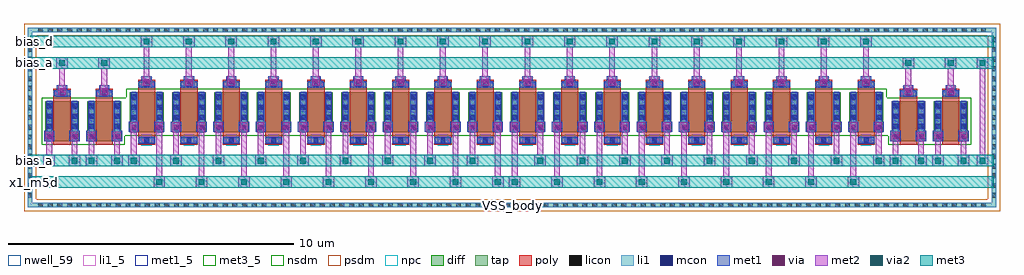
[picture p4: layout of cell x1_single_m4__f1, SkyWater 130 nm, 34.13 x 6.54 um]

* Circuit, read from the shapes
.subckt x1_single_m4__f1 VSS_body bias_a bias_d x1_m5d
XM1 bias_a bias_a bias_a VSS_body sky130_fd_pr__nfet_01v8 w=1.4 l=0.6 m=4
XM2 x1_m5d bias_d bias_a VSS_body sky130_fd_pr__nfet_01v8 w=1.4 l=0.6 m=18
.ends

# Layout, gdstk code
from math import pi, radians
import gdstk
lib = gdstk.Library(unit=1e-6, precision=1e-09)
def R(c, l, rs):  # rectangles x0, y0, x1, y1
    for r in rs: c.add(gdstk.rectangle(r[:2], r[2:], *l))
def A(c, l, x, y, w, h, nx, ny, dx, dy):  # array of equal rectangles
    R(c, l, [(x+i*dx, y+j*dy, x+i*dx+w, y+j*dy+h) for i in range(nx) for j in range(ny)])
nwell_59 = (64, 59)
diff = (65, 20)
tap = (65, 44)
poly = (66, 20)
licon = (66, 44)
li1_5 = (67, 5)
li1 = (67, 20)
mcon = (67, 44)
met1_5 = (68, 5)
met1 = (68, 20)
via = (68, 44)
met2 = (69, 20)
via2 = (69, 44)
met3_5 = (70, 5)
met3 = (70, 20)
nsdm = (93, 44)
psdm = (94, 20)
npc = (95, 20)

sky130_fd_pr__nfet_01v8_ = lib.new_cell('sky130_fd_pr__nfet_01v8_RUA5M6')
R(sky130_fd_pr__nfet_01v8_, diff, [(-0.59,-0.855,0.59,0.545)])
R(sky130_fd_pr__nfet_01v8_, poly, [(-0.3,-0.985,0.3,0.985)])
A(sky130_fd_pr__nfet_01v8_, licon, -0.53, -0.75, 0.17, 0.17, 1, 4, 0, 0.34)
A(sky130_fd_pr__nfet_01v8_, licon, 0.36, -0.75, 0.17, 0.17, 1, 4, 0, 0.34)
R(sky130_fd_pr__nfet_01v8_, licon, [(-0.085,0.735,0.085,0.905)])
R(sky130_fd_pr__nfet_01v8_, li1, [(-0.53,-0.875,-0.36,0.565), (0.36,-0.875,0.53,0.565), (-0.3,0.735,0.3,0.905)])
A(sky130_fd_pr__nfet_01v8_, mcon, -0.53, -0.78, 0.17, 0.17, 1, 4, 0, 0.36)
A(sky130_fd_pr__nfet_01v8_, mcon, 0.36, -0.78, 0.17, 0.17, 1, 4, 0, 0.36)
R(sky130_fd_pr__nfet_01v8_, mcon, [(-0.085,0.735,0.085,0.905)])
R(sky130_fd_pr__nfet_01v8_, met1, [(-0.56,-0.855,-0.33,0.545), (0.33,-0.855,0.56,0.545), (-0.28,0.705,0.28,0.935)])
R(sky130_fd_pr__nfet_01v8_, nsdm, [(-0.715,-0.98,0.715,0.67)])
R(sky130_fd_pr__nfet_01v8_, npc, [(-0.185,0.635,0.185,1.005)])
sky130_fd_pr__nfet_01v8_.add(gdstk.Label('D', (-0.445,-0.155), layer=67, texttype=5))
sky130_fd_pr__nfet_01v8_.add(gdstk.Label('S', (0.445,-0.155), layer=67, texttype=5))
sky130_fd_pr__nfet_01v8_.add(gdstk.Label('G', (0,0.82), layer=67, texttype=5))

nfet_01v8_w1p4_l0p6_m4__ = lib.new_cell('nfet_01v8_W1p4_L0p6_m4__nf1_gtop_sdfull_ng')
R(nfet_01v8_w1p4_l0p6_m4__, nwell_59, [(0.05,0.78,0.15,0.88)])
R(nfet_01v8_w1p4_l0p6_m4__, met1_5, [(0.03,0.83,0.26,1.03), (0.92,0.83,1.15,1.03), (0.31,1.69,0.87,1.92)])
R(nfet_01v8_w1p4_l0p6_m4__, met1, [(0.03,0.83,0.26,1.03), (0.92,0.83,1.15,1.03), (0.31,1.69,0.87,1.92)])
nfet_01v8_w1p4_l0p6_m4__.add(gdstk.Reference(sky130_fd_pr__nfet_01v8_, (0.59,0.985)))
nfet_01v8_w1p4_l0p6_m4__.add(gdstk.Label('D', (0.145,0.93), layer=68, texttype=5))
nfet_01v8_w1p4_l0p6_m4__.add(gdstk.Label('S', (1.035,0.93), layer=68, texttype=5))
nfet_01v8_w1p4_l0p6_m4__.add(gdstk.Label('G', (0.59,1.805), layer=68, texttype=5))
nfet_01v8_w1p4_l0p6_m4__.add(gdstk.Label('B', (0.1,0.83), layer=64, texttype=59))

c_sky130_fd_pr__nfet_01v8_ = lib.new_cell('sky130_fd_pr__nfet_01v8_KCM6UP')
R(c_sky130_fd_pr__nfet_01v8_, diff, [(-0.59,-0.7,0.59,0.7)])
R(c_sky130_fd_pr__nfet_01v8_, poly, [(-0.3,-1.14,0.3,1.14)])
A(c_sky130_fd_pr__nfet_01v8_, licon, -0.53, -0.595, 0.17, 0.17, 1, 4, 0, 0.34)
A(c_sky130_fd_pr__nfet_01v8_, licon, 0.36, -0.595, 0.17, 0.17, 1, 4, 0, 0.34)
R(c_sky130_fd_pr__nfet_01v8_, licon, [(-0.085,-1.06,0.085,-0.89), (-0.085,0.89,0.085,1.06)])
R(c_sky130_fd_pr__nfet_01v8_, li1, [(-0.3,-1.06,0.3,-0.89), (-0.53,-0.72,-0.36,0.72), (0.36,-0.72,0.53,0.72), (-0.3,0.89,0.3,1.06)])
A(c_sky130_fd_pr__nfet_01v8_, mcon, -0.53, -0.625, 0.17, 0.17, 1, 4, 0, 0.36)
A(c_sky130_fd_pr__nfet_01v8_, mcon, 0.36, -0.625, 0.17, 0.17, 1, 4, 0, 0.36)
R(c_sky130_fd_pr__nfet_01v8_, mcon, [(-0.085,-1.06,0.085,-0.89), (-0.085,0.89,0.085,1.06)])
R(c_sky130_fd_pr__nfet_01v8_, met1, [(-0.28,-1.09,0.28,-0.86), (-0.56,-0.7,-0.33,0.7), (0.33,-0.7,0.56,0.7), (-0.28,0.86,0.28,1.09)])
R(c_sky130_fd_pr__nfet_01v8_, nsdm, [(-0.715,-0.825,0.715,0.825)])
R(c_sky130_fd_pr__nfet_01v8_, npc, [(-0.185,-1.16,0.185,-0.79), (-0.185,0.79,0.185,1.16)])
c_sky130_fd_pr__nfet_01v8_.add(gdstk.Label('D', (-0.445,0), layer=67, texttype=5))
c_sky130_fd_pr__nfet_01v8_.add(gdstk.Label('S', (0.445,0), layer=67, texttype=5))
c_sky130_fd_pr__nfet_01v8_.add(gdstk.Label('G', (0,0.975), layer=67, texttype=5))

nfet_01v8_w1p4_l0p6_m18_ = lib.new_cell('nfet_01v8_W1p4_L0p6_m18__nf1_gboth_sdfull_ng')
R(nfet_01v8_w1p4_l0p6_m18_, nwell_59, [(0.05,1.09,0.15,1.19)])
R(nfet_01v8_w1p4_l0p6_m18_, met1_5, [(0.03,1.14,0.26,1.34), (0.92,1.14,1.15,1.34), (0.31,2,0.87,2.23)])
R(nfet_01v8_w1p4_l0p6_m18_, met1, [(0.03,1.14,0.26,1.34), (0.92,1.14,1.15,1.34), (0.31,2,0.87,2.23)])
nfet_01v8_w1p4_l0p6_m18_.add(gdstk.Reference(c_sky130_fd_pr__nfet_01v8_, (0.59,1.14)))
nfet_01v8_w1p4_l0p6_m18_.add(gdstk.Label('D', (0.145,1.24), layer=68, texttype=5))
nfet_01v8_w1p4_l0p6_m18_.add(gdstk.Label('S', (1.035,1.24), layer=68, texttype=5))
nfet_01v8_w1p4_l0p6_m18_.add(gdstk.Label('G', (0.59,2.115), layer=68, texttype=5))
nfet_01v8_w1p4_l0p6_m18_.add(gdstk.Label('B', (0.1,1.14), layer=64, texttype=59))

x1_single_m4__f1 = lib.new_cell('x1_single_m4__f1')
R(x1_single_m4__f1, tap, [(-0.485,-2.185,33.395,-2.015), (-0.485,-2.015,-0.315,3.935), (33.225,-2.015,33.395,3.935), (-0.485,3.935,33.395,4.105)])
A(x1_single_m4__f1, licon, -0.12, -2.185, 0.17, 0.17, 98, 2, 0.34, 6.12)
A(x1_single_m4__f1, licon, -0.485, -1.845, 0.17, 0.17, 1, 17, 0, 0.34)
A(x1_single_m4__f1, licon, 33.225, -1.845, 0.17, 0.17, 1, 17, 0, 0.34)
R(x1_single_m4__f1, li1_5, [(16.405,-2.15,16.505,-2.05)])
R(x1_single_m4__f1, li1, [(-0.485,-2.185,33.395,-2.015), (-0.485,-2.015,-0.315,3.935), (33.225,-2.015,33.395,3.935), (-0.485,3.935,33.395,4.105)])
A(x1_single_m4__f1, met1, 3.495, 2.05, 0.36, 0.36, 18, 1, 1.48, 0)
R(x1_single_m4__f1, met1, [(0.09,0.13,0.45,0.49), (0.98,0.13,1.34,0.49), (1.57,0.13,1.93,0.49), (2.46,0.13,2.82,0.49), (29.69,0.13,30.05,0.49), (30.58,0.13,30.94,0.49), (31.17,0.13,31.53,0.49), (32.06,0.13,32.42,0.49), (3.05,0.46,3.41,0.82), (3.94,0.46,4.3,0.82), (4.53,0.46,4.89,0.82), (5.42,0.46,5.78,0.82), (6.01,0.46,6.37,0.82), (6.9,0.46,7.26,0.82), (7.49,0.46,7.85,0.82), (8.38,0.46,8.74,0.82), (8.97,0.46,9.33,0.82), (9.86,0.46,10.22,0.82), (10.45,0.46,10.81,0.82), (11.34,0.46,11.7,0.82), (11.93,0.46,12.29,0.82), (12.82,0.46,13.18,0.82), (13.41,0.46,13.77,0.82), (14.3,0.46,14.66,0.82), (14.89,0.46,15.25,0.82), (15.78,0.46,16.14,0.82), (16.37,0.46,16.73,0.82), (17.26,0.46,17.62,0.82), (17.85,0.46,18.21,0.82), (18.74,0.46,19.1,0.82), (19.33,0.46,19.69,0.82), (20.22,0.46,20.58,0.82), (20.81,0.46,21.17,0.82), (21.7,0.46,22.06,0.82), (22.29,0.46,22.65,0.82), (23.18,0.46,23.54,0.82), (23.77,0.46,24.13,0.82), (24.66,0.46,25.02,0.82), (25.25,0.46,25.61,0.82), (26.14,0.46,26.5,0.82), (26.73,0.46,27.09,0.82), (27.62,0.46,27.98,0.82), (28.21,0.46,28.57,0.82), (29.1,0.46,29.46,0.82), (0.535,1.72,0.895,2.08), (2.015,1.72,2.375,2.08), (30.135,1.72,30.495,2.08), (31.615,1.72,31.975,2.08)])
A(x1_single_m4__f1, via, 3.6, 2.155, 0.15, 0.15, 18, 1, 1.48, 0)
R(x1_single_m4__f1, via, [(0.195,0.235,0.345,0.385), (1.085,0.235,1.235,0.385), (1.675,0.235,1.825,0.385), (2.565,0.235,2.715,0.385), (29.795,0.235,29.945,0.385), (30.685,0.235,30.835,0.385), (31.275,0.235,31.425,0.385), (32.165,0.235,32.315,0.385), (3.155,0.565,3.305,0.715), (4.045,0.565,4.195,0.715), (4.635,0.565,4.785,0.715), (5.525,0.565,5.675,0.715), (6.115,0.565,6.265,0.715), (7.005,0.565,7.155,0.715), (7.595,0.565,7.745,0.715), (8.485,0.565,8.635,0.715), (9.075,0.565,9.225,0.715), (9.965,0.565,10.115,0.715), (10.555,0.565,10.705,0.715), (11.445,0.565,11.595,0.715), (12.035,0.565,12.185,0.715), (12.925,0.565,13.075,0.715), (13.515,0.565,13.665,0.715), (14.405,0.565,14.555,0.715), (14.995,0.565,15.145,0.715), (15.885,0.565,16.035,0.715), (16.475,0.565,16.625,0.715), (17.365,0.565,17.515,0.715), (17.955,0.565,18.105,0.715), (18.845,0.565,18.995,0.715), (19.435,0.565,19.585,0.715), (20.325,0.565,20.475,0.715), (20.915,0.565,21.065,0.715), (21.805,0.565,21.955,0.715), (22.395,0.565,22.545,0.715), (23.285,0.565,23.435,0.715), (23.875,0.565,24.025,0.715), (24.765,0.565,24.915,0.715), (25.355,0.565,25.505,0.715), (26.245,0.565,26.395,0.715), (26.835,0.565,26.985,0.715), (27.725,0.565,27.875,0.715), (28.315,0.565,28.465,0.715), (29.205,0.565,29.355,0.715), (0.64,1.825,0.79,1.975), (2.12,1.825,2.27,1.975), (30.24,1.825,30.39,1.975), (31.72,1.825,31.87,1.975)])
A(x1_single_m4__f1, met2, 3.92, -1.5, 0.4, 0.4, 9, 1, 1.48, 0)
A(x1_single_m4__f1, met2, 16.35, -1.5, 0.4, 0.4, 9, 1, 1.48, 0)
A(x1_single_m4__f1, met2, 4.02, -1.1, 0.2, 1.58, 9, 1, 1.48, 0)
A(x1_single_m4__f1, met2, 16.45, -1.1, 0.2, 1.58, 9, 1, 1.48, 0)
A(x1_single_m4__f1, met2, 3.03, -0.75, 0.4, 0.4, 9, 1, 1.48, 0)
A(x1_single_m4__f1, met2, 17.24, -0.75, 0.4, 0.4, 9, 1, 1.48, 0)
A(x1_single_m4__f1, met2, 3.13, -0.35, 0.2, 0.83, 9, 1, 1.48, 0)
A(x1_single_m4__f1, met2, 17.34, -0.35, 0.2, 0.83, 9, 1, 1.48, 0)
A(x1_single_m4__f1, met2, 3.545, 2.07, 0.26, 0.32, 18, 1, 1.48, 0)
A(x1_single_m4__f1, met2, 3.575, 2.39, 0.2, 1.03, 18, 1, 1.48, 0)
A(x1_single_m4__f1, met2, 3.475, 3.42, 0.4, 0.4, 18, 1, 1.48, 0)
R(x1_single_m4__f1, met2, [(0.07,-0.75,0.47,-0.35), (0.96,-0.75,1.36,-0.35), (1.55,-0.75,1.95,-0.35), (2.44,-0.75,2.84,-0.35), (29.67,-0.75,30.07,-0.35), (30.56,-0.75,30.96,-0.35), (31.15,-0.75,31.55,-0.35), (32.04,-0.75,32.44,-0.35), (32.71,-0.75,33.11,-0.35), (0.17,-0.35,0.37,0.15), (1.06,-0.35,1.26,0.15), (1.65,-0.35,1.85,0.15), (2.54,-0.35,2.74,0.15), (29.77,-0.35,29.97,0.15), (30.66,-0.35,30.86,0.15), (31.25,-0.35,31.45,0.15), (32.14,-0.35,32.34,0.15), (32.81,-0.35,33.01,2.67), (0.14,0.15,0.4,0.47), (1.03,0.15,1.29,0.47), (1.62,0.15,1.88,0.47), (2.51,0.15,2.77,0.47), (29.74,0.15,30,0.47), (30.63,0.15,30.89,0.47), (31.22,0.15,31.48,0.47), (32.11,0.15,32.37,0.47), (3.1,0.48,3.36,0.8), (3.99,0.48,4.25,0.8), (4.58,0.48,4.84,0.8), (5.47,0.48,5.73,0.8), (6.06,0.48,6.32,0.8), (6.95,0.48,7.21,0.8), (7.54,0.48,7.8,0.8), (8.43,0.48,8.69,0.8), (9.02,0.48,9.28,0.8), (9.91,0.48,10.17,0.8), (10.5,0.48,10.76,0.8), (11.39,0.48,11.65,0.8), (11.98,0.48,12.24,0.8), (12.87,0.48,13.13,0.8), (13.46,0.48,13.72,0.8), (14.35,0.48,14.61,0.8), (14.94,0.48,15.2,0.8), (15.83,0.48,16.09,0.8), (16.42,0.48,16.68,0.8), (17.31,0.48,17.57,0.8), (17.9,0.48,18.16,0.8), (18.79,0.48,19.05,0.8), (19.38,0.48,19.64,0.8), (20.27,0.48,20.53,0.8), (20.86,0.48,21.12,0.8), (21.75,0.48,22.01,0.8), (22.34,0.48,22.6,0.8), (23.23,0.48,23.49,0.8), (23.82,0.48,24.08,0.8), (24.71,0.48,24.97,0.8), (25.3,0.48,25.56,0.8), (26.19,0.48,26.45,0.8), (26.78,0.48,27.04,0.8), (27.67,0.48,27.93,0.8), (28.26,0.48,28.52,0.8), (29.15,0.48,29.41,0.8), (0.585,1.74,0.845,2.06), (2.065,1.74,2.325,2.06), (30.185,1.74,30.445,2.06), (31.665,1.74,31.925,2.06), (0.615,2.06,0.815,2.67), (2.095,2.06,2.295,2.67), (30.215,2.06,30.415,2.67), (31.695,2.06,31.895,2.67), (0.515,2.67,0.915,3.07), (1.995,2.67,2.395,3.07), (30.115,2.67,30.515,3.07), (31.595,2.67,31.995,3.07), (32.71,2.67,33.11,3.07)])
A(x1_single_m4__f1, via2, 4.02, -1.4, 0.2, 0.2, 9, 1, 1.48, 0)
A(x1_single_m4__f1, via2, 16.45, -1.4, 0.2, 0.2, 9, 1, 1.48, 0)
A(x1_single_m4__f1, via2, 3.13, -0.65, 0.2, 0.2, 9, 1, 1.48, 0)
A(x1_single_m4__f1, via2, 17.34, -0.65, 0.2, 0.2, 9, 1, 1.48, 0)
A(x1_single_m4__f1, via2, 3.575, 3.52, 0.2, 0.2, 18, 1, 1.48, 0)
R(x1_single_m4__f1, via2, [(0.17,-0.65,0.37,-0.45), (1.06,-0.65,1.26,-0.45), (1.65,-0.65,1.85,-0.45), (2.54,-0.65,2.74,-0.45), (29.77,-0.65,29.97,-0.45), (30.66,-0.65,30.86,-0.45), (31.25,-0.65,31.45,-0.45), (32.14,-0.65,32.34,-0.45), (32.81,-0.65,33.01,-0.45), (0.615,2.77,0.815,2.97), (2.095,2.77,2.295,2.97), (30.215,2.77,30.415,2.97), (31.695,2.77,31.895,2.97), (32.81,2.77,33.01,2.97)])
R(x1_single_m4__f1, met3_5, [(-0.3,-1.35,-0.2,-1.25), (-0.3,-0.6,-0.2,-0.5), (-0.3,2.82,-0.2,2.92), (-0.3,3.57,-0.2,3.67)])
R(x1_single_m4__f1, met3, [(-0.4,-1.5,33.31,-1.1), (-0.4,-0.75,33.31,-0.35), (-0.4,2.67,33.31,3.07), (-0.4,3.42,33.31,3.82)])
A(x1_single_m4__f1, nsdm, 4.395, 0.315, 0.05, 1.65, 17, 1, 1.48, 0)
R(x1_single_m4__f1, nsdm, [(1.435,0.005,1.485,1.655), (31.035,0.005,31.085,1.655), (2.915,0.315,2.965,1.655), (29.555,0.315,29.605,1.655)])
R(x1_single_m4__f1, psdm, [(-0.61,-2.31,33.52,-1.89), (-0.61,-1.89,-0.19,3.81), (33.1,-1.89,33.52,3.81), (-0.61,3.81,33.52,4.23)])
x1_single_m4__f1.add(gdstk.Reference(nfet_01v8_w1p4_l0p6_m4__, (0.13,0)))
x1_single_m4__f1.add(gdstk.Reference(nfet_01v8_w1p4_l0p6_m4__, (1.61,0)))
x1_single_m4__f1.add(gdstk.Reference(nfet_01v8_w1p4_l0p6_m18_, (3.09,0)))
x1_single_m4__f1.add(gdstk.Reference(nfet_01v8_w1p4_l0p6_m18_, (4.57,0)))
x1_single_m4__f1.add(gdstk.Reference(nfet_01v8_w1p4_l0p6_m18_, (6.05,0)))
x1_single_m4__f1.add(gdstk.Reference(nfet_01v8_w1p4_l0p6_m18_, (7.53,0)))
x1_single_m4__f1.add(gdstk.Reference(nfet_01v8_w1p4_l0p6_m18_, (9.01,0)))
x1_single_m4__f1.add(gdstk.Reference(nfet_01v8_w1p4_l0p6_m18_, (10.49,0)))
x1_single_m4__f1.add(gdstk.Reference(nfet_01v8_w1p4_l0p6_m18_, (11.97,0)))
x1_single_m4__f1.add(gdstk.Reference(nfet_01v8_w1p4_l0p6_m18_, (13.45,0)))
x1_single_m4__f1.add(gdstk.Reference(nfet_01v8_w1p4_l0p6_m18_, (14.93,0)))
x1_single_m4__f1.add(gdstk.Reference(nfet_01v8_w1p4_l0p6_m18_, (17.59,0), rotation=pi, x_reflection=True))
x1_single_m4__f1.add(gdstk.Reference(nfet_01v8_w1p4_l0p6_m18_, (19.07,0), rotation=pi, x_reflection=True))
x1_single_m4__f1.add(gdstk.Reference(nfet_01v8_w1p4_l0p6_m18_, (20.55,0), rotation=pi, x_reflection=True))
x1_single_m4__f1.add(gdstk.Reference(nfet_01v8_w1p4_l0p6_m18_, (22.03,0), rotation=pi, x_reflection=True))
x1_single_m4__f1.add(gdstk.Reference(nfet_01v8_w1p4_l0p6_m18_, (23.51,0), rotation=pi, x_reflection=True))
x1_single_m4__f1.add(gdstk.Reference(nfet_01v8_w1p4_l0p6_m18_, (24.99,0), rotation=pi, x_reflection=True))
x1_single_m4__f1.add(gdstk.Reference(nfet_01v8_w1p4_l0p6_m18_, (26.47,0), rotation=pi, x_reflection=True))
x1_single_m4__f1.add(gdstk.Reference(nfet_01v8_w1p4_l0p6_m18_, (27.95,0), rotation=pi, x_reflection=True))
x1_single_m4__f1.add(gdstk.Reference(nfet_01v8_w1p4_l0p6_m18_, (29.43,0), rotation=pi, x_reflection=True))
x1_single_m4__f1.add(gdstk.Reference(nfet_01v8_w1p4_l0p6_m4__, (29.73,0)))
x1_single_m4__f1.add(gdstk.Reference(nfet_01v8_w1p4_l0p6_m4__, (31.21,0)))
x1_single_m4__f1.add(gdstk.Label('bias_a', (-0.25,2.87), layer=70, texttype=5))
x1_single_m4__f1.add(gdstk.Label('bias_d', (-0.25,3.62), layer=70, texttype=5))
x1_single_m4__f1.add(gdstk.Label('bias_a', (-0.25,-0.55), layer=70, texttype=5))
x1_single_m4__f1.add(gdstk.Label('x1_m5d', (-0.25,-1.3), layer=70, texttype=5))
x1_single_m4__f1.add(gdstk.Label('VSS_body', (16.455,-2.1), layer=67, texttype=5))

lib.write_gds('x1_single_m4__f1.gds')
